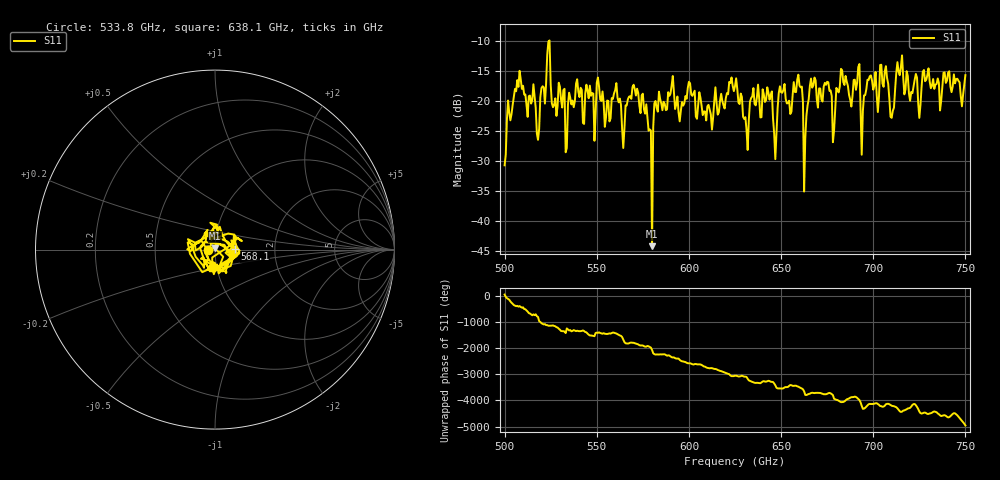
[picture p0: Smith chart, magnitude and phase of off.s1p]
!Created with skrf (http://scikit-rf.org).
# GHz S RI R 50.0
!freq ReS11 ImS11
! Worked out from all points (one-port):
!   401 points, 500 GHz to 750 GHz, reference 50 ohm
!   lowest |S11| = -44.2 dB at 580 GHz (marker M1), VSWR 1.01, Z = 50 + j0.615 ohm
!   |S11| at or under -10 dB: start of sweep to 524 GHz; 524.4 GHz to end of sweep
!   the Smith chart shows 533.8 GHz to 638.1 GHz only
!   S11 on the Smith chart (normalised r, x): 533.8 GHz: 0.92, -0.01; 568.1 GHz: 1.25, +0.01; 638.1 GHz: 0.95, -0.20
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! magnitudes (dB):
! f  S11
! 500 GHz  -30.7
! 507.5 GHz  -17.6
! 517.5 GHz  -25.4
! 523.8 GHz  -10.1
! 526.9 GHz  -20.6
! 531.2 GHz  -21.1
! 533.8 GHz  -27.8
! 540 GHz  -18.5
! 562.5 GHz  -19.6
! 568.1 GHz  -19.2
! 575.6 GHz  -21.4
! 580 GHz  -44.2
! 582.5 GHz  -21.1
! 593.8 GHz  -19.2
! 625 GHz  -17.5
! 630.6 GHz  -22.7
! 638.1 GHz  -19.6
! 643.8 GHz  -19.8
! 646.9 GHz  -29.7
! 650 GHz  -18.5
! 656.2 GHz  -19.1
! 660 GHz  -17.4
! 663.1 GHz  -26.2
! 667.5 GHz  -17.4
! 678.1 GHz  -26.9
! 687.5 GHz  -19.8
! 718.8 GHz  -15.8
! 750 GHz  -15.7
